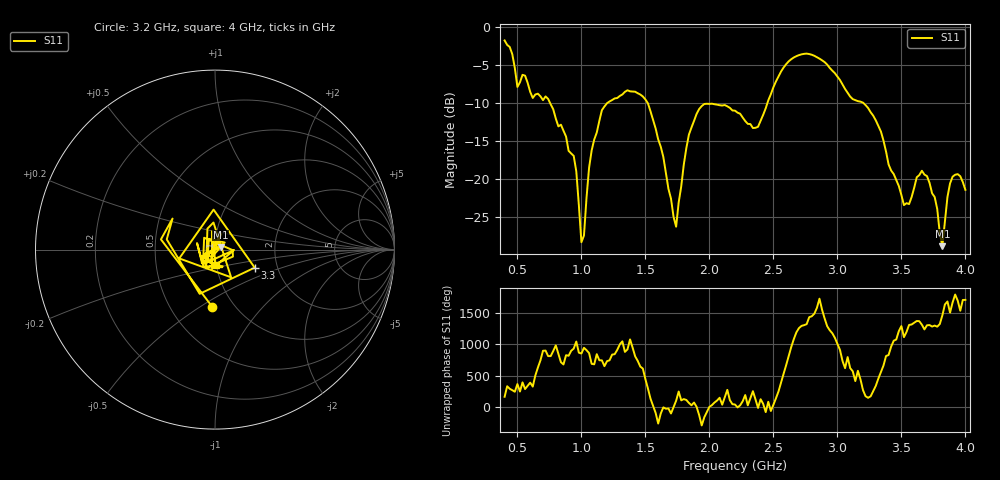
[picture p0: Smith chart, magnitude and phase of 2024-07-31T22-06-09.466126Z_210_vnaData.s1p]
!Created with skrf (http://scikit-rf.org).
# Hz S RI R 50.0
!freq ReS11 ImS11
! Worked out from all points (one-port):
!   181 points, 400 MHz to 4 GHz, reference 50 ohm
!   lowest |S11| = -28.9 dB at 3.82 GHz (marker M1), VSWR 1.07, Z = 53.3 + j1.61 ohm
!   |S11| at or under -10 dB: 755.3 MHz to 1.202 GHz (446.9 MHz wide, 45.7 % of centre); 1.518 GHz to 2.453 GHz (935.2 MHz wide, 47.1 % of centre); 3.203 GHz to end of sweep
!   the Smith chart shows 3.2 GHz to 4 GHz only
!   S11 on the Smith chart (normalised r, x): 3.2 GHz: 0.79, -0.56; 3.3 GHz: 1.53, -0.33; 4 GHz: 1.00, -0.17
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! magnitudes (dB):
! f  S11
! 400 MHz  -1.7
! 500 MHz  -7.9
! 560 MHz  -6.4
! 860 MHz  -13.7
! 960 MHz  -19.0
! 1 GHz  -28.4
! 1.02 GHz  -27.5
! 1.08 GHz  -16.3
! 1.16 GHz  -10.9
! 1.3 GHz  -9.1
! 1.52 GHz  -10.0
! 1.74 GHz  -26.3
! 1.76 GHz  -23.1
! 1.84 GHz  -14.2
! 1.92 GHz  -10.8
! 2.2 GHz  -11.0
! 2.38 GHz  -13.1
! 2.66 GHz  -4.0
! 2.88 GHz  -4.4
! 3.1 GHz  -9.2
! 3.2 GHz  -9.9
! 3.3 GHz  -12.3
! 3.56 GHz  -23.3
! 3.62 GHz  -19.8
! 3.7 GHz  -19.6
! 3.82 GHz  -28.9
! 3.9 GHz  -19.7
! 4 GHz  -21.5
